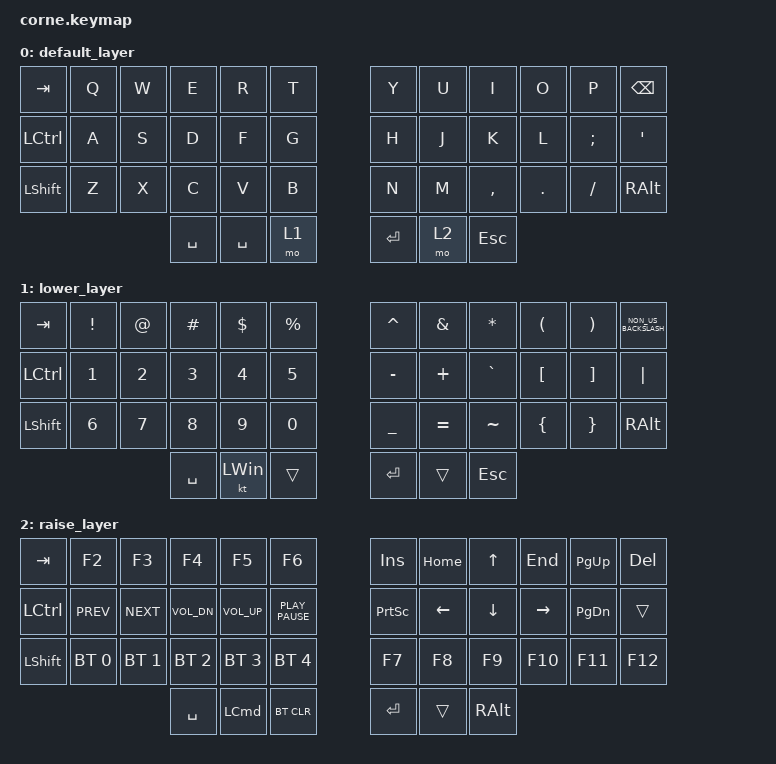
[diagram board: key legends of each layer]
/*
 * Copyright (c) 2020 The ZMK Contributors
 *
 * SPDX-License-Identifier: MIT
 */

#include <behaviors.dtsi>
#include <dt-bindings/zmk/bt.h>
#include <dt-bindings/zmk/keys.h>

/ {
    keymap {
        compatible = "zmk,keymap";

        default_layer {
            // -----------------------------------------------------------------------------------------
            // |  TAB |  Q  |  W  |  E  |  R  |  T  |   |  Y  |  U   |  I  |  O  |  P  | BKSP |
            // | CTRL |  A  |  S  |  D  |  F  |  G  |   |  H  |  J   |  K  |  L  |  ;  |  '   |
            // | SHFT |  Z  |  X  |  C  |  V  |  B  |   |  N  |  M   |  ,  |  .  |  /  | ESC  |
            //                    | GUI | LWR | SPC |   | ENT | RSE  | ALT |

            bindings = <
&kp TAB           &kp Q  &kp W  &kp E      &kp R      &kp T    &kp Y      &kp U  &kp I       &kp O    &kp P     &kp BACKSPACE
&kp LEFT_CONTROL  &kp A  &kp S  &kp D      &kp F      &kp G    &kp H      &kp J  &kp K       &kp L    &kp SEMI  &kp SQT
&kp LEFT_SHIFT    &kp Z  &kp X  &kp C      &kp V      &kp B    &kp N      &kp M  &kp COMMA   &kp DOT  &kp FSLH  &kp RIGHT_ALT
                                &kp SPACE  &kp SPACE  &mo 1    &kp ENTER  &mo 2  &kp ESCAPE
            >;
        };

        lower_layer {
            // -----------------------------------------------------------------------------------------
            // |  TAB |  1  |  2  |  3  |  4  |  5  |   |  6  |  7  |  8  |  9  |  0  | BKSP |
            // | BTCLR| BT1 | BT2 | BT3 | BT4 | BT5 |   | LFT | DWN |  UP | RGT |     |      |
            // | SHFT |     |     |     |     |     |   |     |     |     |     |     |      |
            //                    | GUI |     | SPC |   | ENT |     | ALT |

            bindings = <
&kp TAB           &kp EXCLAMATION  &kp AT_SIGN   &kp HASH      &kp DOLLAR    &kp PERCENT    &kp CARET       &kp AMPERSAND  &kp ASTERISK  &kp LEFT_PARENTHESIS  &kp RIGHT_PARENTHESIS  &kp NON_US_BACKSLASH
&kp LEFT_CONTROL  &kp NUMBER_1     &kp NUMBER_2  &kp NUMBER_3  &kp NUMBER_4  &kp N5         &kp MINUS       &kp PLUS       &kp GRAVE     &kp LEFT_BRACKET      &kp RIGHT_BRACKET      &kp PIPE
&kp LEFT_SHIFT    &kp NUMBER_6     &kp N7        &kp N8        &kp N9        &kp N0         &kp UNDERSCORE  &kp EQUAL      &kp TILDE     &kp LEFT_BRACE        &kp RIGHT_BRACE        &kp RIGHT_ALT
                                                 &kp SPACE     &kt LEFT_WIN  &trans         &kp ENTER       &trans         &kp ESCAPE
            >;
        };

        raise_layer {
            // -----------------------------------------------------------------------------------------
            // |  TAB |  !  |  @  |  #  |  $  |  %  |   |  ^  |  &  |  *  |  (  |  )  | BKSP |
            // | CTRL |     |     |     |     |     |   |  -  |  =  |  [  |  ]  |  \  |  `   |
            // | SHFT |     |     |     |     |     |   |  _  |  +  |  {  |  }  | "|" |  ~   |
            //                    | GUI |     | SPC |   | ENT |     | ALT |

            bindings = <
&kp TAB           &kp F2        &kp F3        &kp F4        &kp F5            &kp F6              &kp INS          &kp HOME        &kp UP_ARROW    &kp END          &kp PAGE_UP    &kp DELETE
&kp LEFT_CONTROL  &kp K_PREV    &kp K_NEXT    &kp C_VOL_DN  &kp C_VOL_UP      &kp K_PLAY_PAUSE    &kp PRINTSCREEN  &kp LEFT_ARROW  &kp DOWN_ARROW  &kp RIGHT_ARROW  &kp PAGE_DOWN  &trans
&kp LEFT_SHIFT    &bt BT_SEL 0  &bt BT_SEL 1  &bt BT_SEL 2  &bt BT_SEL 3      &bt BT_SEL 4        &kp F7           &kp F8          &kp F9          &kp F10          &kp F11        &kp F12
                                              &kp SPACE     &kp LEFT_COMMAND  &bt BT_CLR          &kp ENTER        &trans          &kp RALT
            >;
        };
    };
};
